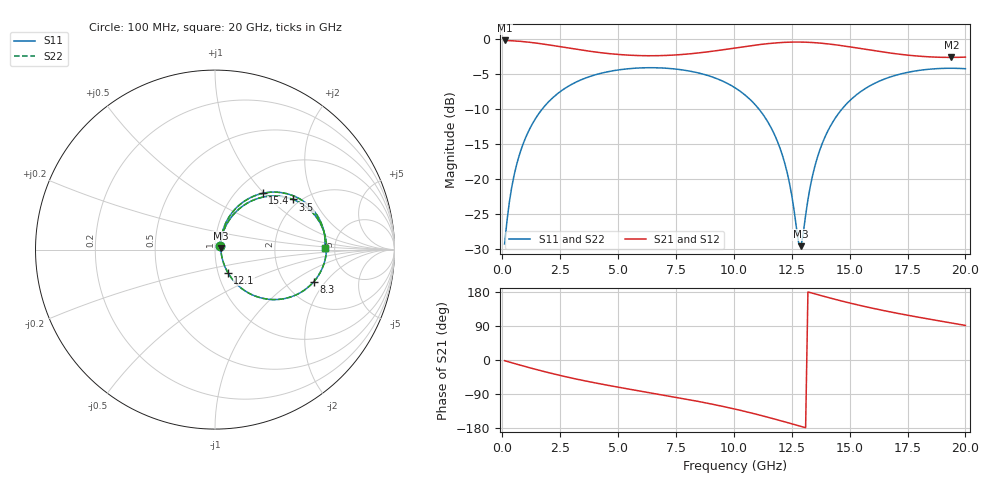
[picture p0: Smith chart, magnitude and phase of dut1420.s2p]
! Touchstone file exported from HFSS 2026.1.0
!  File:  C:/ffzhzh/LocalFiles/Ansys_Project_Files/temp_train_TSV_RDL_1420_1783354275_4416.aedt
!  Generated:  12:26:01 AM Jul  7, 2026
!  Design:  TSV_RDL
!  Project:  temp_train_TSV_RDL_1420_1783354275_4416
! Variables:
!  h_bsmrdl = 4.44um
!  h_ox = 20um
!  h_rdl = 5um
!  h_sub = 87.66um
!  h_tmrdl = 3.8um
!  h_tsv = 87.66um
!  h_via = 3um
!  l_bsmrdl = 369.16um
!  l_sub = 4470.66um
!  l_tmrdl = 716.48um
!  m_sub = 200um
!  pitch = 48.32um
!  r_tsv = 5.79um
!  s_tmrdl = 10um
!  w_bsmrdl = 19.73um
!  w_sub = 500um
!  w_tmrdl = 12.69um
!  x_tsv_center1 = 722.825um
!  x_tsv_center2 = 1111.715um
!  x_tsv_center3 = 1840.885um
!  x_tsv_center4 = 2229.775um
!  x_tsv_center5 = 2958.945um
!  x_tsv_center6 = 3347.835um
# GHz S MA R 50.000000
! Terminal data exported
! Port[1] = TM_RDL1_1_T1
! Port[2] = TM_RDL5_1_T1
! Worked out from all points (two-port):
!   200 points, 100 MHz to 20 GHz, reference 50 ohm
!   highest |S21| = -0.24 dB at 100 MHz (marker M1); lowest = -2.7 dB at 19.4 GHz (marker M2)
!   |S21| within 3 dB of the highest: start of sweep to end of sweep
!   lowest |S11| = -29.6 dB at 12.9 GHz (marker M3), VSWR 1.07, Z = 53.3 + j0.886 ohm
!   |S11| at or under -10 dB: start of sweep to 1.735 GHz; 11.07 GHz to 14.68 GHz (3.608 GHz wide, 28 % of centre)
!   |S22| runs from -29.6 to -4.1 dB; largest |S21 - S12| = 1.7e-14
!   S11 on the Smith chart (normalised r, x): 100 MHz: 1.06, +0.04; 3.5 GHz: 1.85, +1.41; 8.3 GHz: 2.84, -1.53; 12.1 GHz: 1.11, -0.29; 15.4 GHz: 1.30, +0.98; 20 GHz: 4.14, +0.11
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0.1  0.03424 35.3  0.9725 -1.8  0.9725 -1.8  0.03424 35.3
! Gamma 0 0 0 0
! Port Impedance 50 0 50 0
0.3  0.06733 59.7  0.9698 -5.4  0.9698 -5.4  0.06733 59.7
0.5  0.1043 64.8  0.9657 -8.9  0.9657 -8.9  0.1043 64.8
1.1  0.2129 62.7  0.9471 -19.1  0.9471 -19.1  0.2129 62.7
2.1  0.3686 50.3  0.8994 -34.9  0.8994 -34.9  0.3686 50.3
3.5  0.517 32.7  0.8266 -54.2  0.8266 -54.2  0.517 32.7
5.1  0.602 15.0  0.7707 -72.8  0.7707 -72.8  0.602 14.9
6.8  0.6196 -2.4  0.7577 -90.9  0.7577 -90.9  0.6196 -2.4
8.3  0.5786 -18.0  0.7865 -107.4  0.7865 -107.4  0.5786 -18.0
10.1  0.4414 -39.1  0.8613 -130.3  0.8613 -130.3  0.4414 -39.1
11.3  0.2816 -54.2  0.9164 -148.3  0.9164 -148.3  0.2816 -54.1
12.1  0.1468 -60.8  0.941 -161.5  0.941 -161.5  0.1469 -60.8
12.5  0.07633 -55.1  0.9467 -168.4  0.9467 -168.4  0.07641 -55.0
12.8  0.03469 -16.2  0.9474 -173.5  0.9474 -173.5  0.03487 -16.1
12.9  0.03306 14.5  0.947 -175.3  0.947 -175.3  0.03326 14.5
13.4  0.1055 66.9  0.9399 176.2  0.9399 176.2  0.1056 66.8
13.7  0.1583 68.0  0.932 171.1  0.932 171.1  0.1583 67.9
14.2  0.2427 64.2  0.9137 162.9  0.9137 162.9  0.2427 64.1
15.4  0.4105 49.8  0.8551 144.7  0.8551 144.7  0.4105 49.7
16.7  0.5299 34.4  0.793 127.6  0.793 127.6  0.5299 34.4
19.4  0.6158 6.7  0.7359 97.6  0.7359 97.6  0.6158 6.6
20  0.6111 0.8  0.7394 91.2  0.7394 91.2  0.6111 0.7
